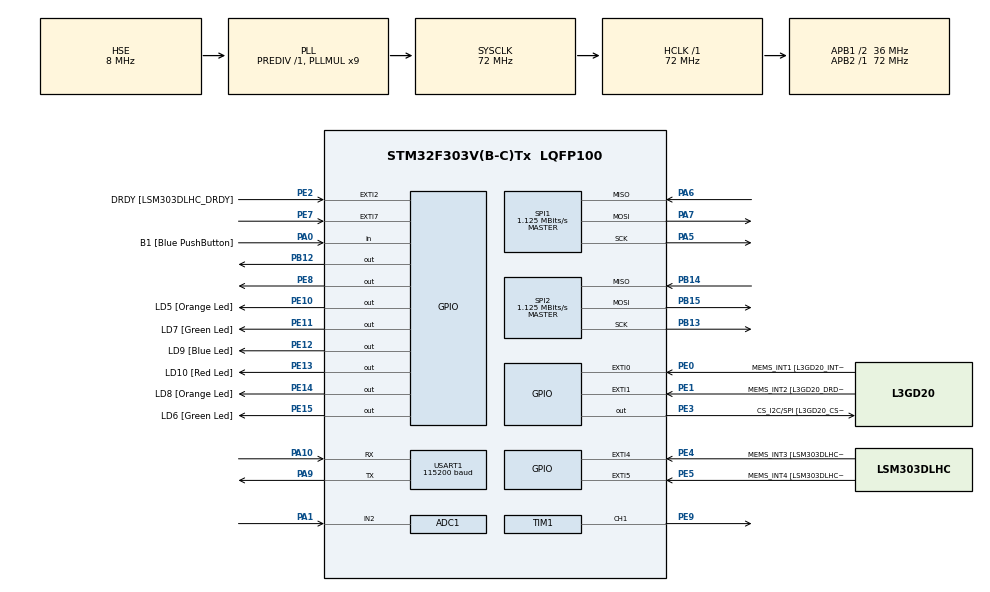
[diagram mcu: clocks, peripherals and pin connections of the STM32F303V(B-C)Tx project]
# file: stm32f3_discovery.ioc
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ADC1.Channel-1\#ChannelRegularConversion=ADC_CHANNEL_2
ADC1.ContinuousConvMode=ENABLE
ADC1.DMAContinuousRequests=ENABLE
ADC1.NbrOfConversionFlag=1
ADC1.Offset-1\#ChannelRegularConversion=0
ADC1.OffsetNumber-1\#ChannelRegularConversion=ADC_OFFSET_NONE
ADC1.Rank-1\#ChannelRegularConversion=1
ADC1.SamplingTime-1\#ChannelRegularConversion=ADC_SAMPLETIME_1CYCLE_5
ADC1.master=1
Dma.ADC1.0.Direction=DMA_PERIPH_TO_MEMORY
Dma.ADC1.0.Instance=DMA1_Channel1
Dma.ADC1.0.MemDataAlignment=DMA_MDATAALIGN_WORD
Dma.ADC1.0.MemInc=DMA_MINC_ENABLE
Dma.ADC1.0.Mode=DMA_CIRCULAR
Dma.ADC1.0.PeriphDataAlignment=DMA_PDATAALIGN_WORD
Dma.ADC1.0.PeriphInc=DMA_PINC_DISABLE
Dma.ADC1.0.Priority=DMA_PRIORITY_LOW
Dma.Request0=ADC1
Mcu.Family=STM32F3
Mcu.Name=STM32F303V(B-C)Tx
Mcu.Package=LQFP100
NVIC.ADC1_2_IRQn=true\:0\:2\:false\:false\:true\:true\:true
NVIC.DMA1_Channel1_IRQn=true\:0\:0\:false\:false\:true\:false\:true
NVIC.EXTI9_5_IRQn=true\:0\:1\:false\:false\:true\:true\:true
NVIC.PriorityGroup=NVIC_PRIORITYGROUP_0
PA0.GPIO_Label=B1 [Blue PushButton]
PA0.Signal=GPIO_Input
PA1.Mode=IN2-Single-Ended
PA1.Signal=ADC1_IN2
PA10.Mode=Asynchronous
PA10.Signal=USART1_RX
PA11.GPIO_Label=DM
PA11.Signal=USB_DM
PA12.GPIO_Label=DP
PA12.Signal=USB_DP
PA13.GPIO_Label=SWDIO
PA13.Mode=Serial_Wire
PA13.Signal=SYS_JTMS-SWDIO
PA14.GPIO_Label=SWCLK
PA14.Mode=Serial_Wire
PA14.Signal=SYS_JTCK-SWCLK
PA5.Mode=Full_Duplex_Master
PA5.Signal=SPI1_SCK
PA6.Mode=Full_Duplex_Master
PA6.Signal=SPI1_MISO
PA7.Mode=Full_Duplex_Master
PA7.Signal=SPI1_MOSI
PA8.Signal=S_TIM4_ETR
PA9.Mode=Asynchronous
PA9.Signal=USART1_TX
PB12.Signal=GPIO_Output
PB13.Mode=Full_Duplex_Master
PB13.Signal=SPI2_SCK
PB14.Mode=Full_Duplex_Master
PB14.Signal=SPI2_MISO
PB15.Mode=Full_Duplex_Master
PB15.Signal=SPI2_MOSI
PB3.Signal=SYS_JTDO-TRACESWO
PB8.GPIO_Label=I2C1_SCL [LSM303DLHC_SCL]
PB8.GPIO_Pu=GPIO_PULLUP
PB8.Signal=I2C1_SCL
PB9.GPIO_Label=I2C1_SDA [LSM303DLHC_SDA]
PB9.GPIO_Pu=GPIO_PULLUP
PB9.Signal=I2C1_SDA
PC14-OSC32_IN.GPIO_Label=OSC32_IN
PC14-OSC32_IN.Signal=RCC_OSC32_IN
PC15-OSC32_OUT.GPIO_Label=OSC32_OUT
PC15-OSC32_OUT.Signal=RCC_OSC32_OUT
PC6.Signal=S_TIM3_CH1
PC7.Signal=S_TIM3_CH2
PC8.Signal=S_TIM3_CH3
PC9.Signal=S_TIM3_CH4
PD12.Signal=S_TIM4_CH1
PE0.GPIO_Label=MEMS_INT1 [L3GD20_INT1]
PE0.GPIO_ModeDefaultEXTI=GPIO_MODE_EVT_RISING
PE0.Signal=GPXTI0
PE1.GPIO_Label=MEMS_INT2 [L3GD20_DRDY/INT2]
PE1.GPIO_ModeDefaultEXTI=GPIO_MODE_EVT_RISING
PE1.Signal=GPXTI1
PE10.GPIO_Label=LD5 [Orange Led]
PE10.Signal=GPIO_Output
PE11.GPIO_Label=LD7 [Green Led]
PE11.Signal=GPIO_Output
PE12.GPIO_Label=LD9 [Blue Led]
PE12.Signal=GPIO_Output
PE13.GPIO_Label=LD10 [Red Led]
PE13.Signal=GPIO_Output
PE14.GPIO_Label=LD8 [Orange Led]
PE14.Signal=GPIO_Output
PE15.GPIO_Label=LD6 [Green Led]
PE15.Signal=GPIO_Output
PE2.GPIO_Label=DRDY [LSM303DLHC_DRDY]
PE2.GPIO_ModeDefaultEXTI=GPIO_MODE_EVT_RISING
PE2.Signal=GPXTI2
PE3.GPIO_Label=CS_I2C/SPI [L3GD20_CS_I2C/SPI]
PE3.Signal=GPIO_Output
PE4.GPIO_Label=MEMS_INT3 [LSM303DLHC_INT1]
PE4.GPIO_ModeDefaultEXTI=GPIO_MODE_EVT_RISING
PE4.Signal=GPXTI4
PE5.GPIO_Label=MEMS_INT4 [LSM303DLHC_INT2]
PE5.GPIO_ModeDefaultEXTI=GPIO_MODE_EVT_RISING
PE5.Signal=GPXTI5
PE7.GPIO_ModeDefaultEXTI=GPIO_MODE_IT_RISING
PE7.GPIO_PuPd=GPIO_PULLDOWN
PE7.Signal=GPXTI7
PE8.Signal=GPIO_Output
PE9.Signal=S_TIM1_CH1
PF0-OSC_IN.GPIO_Label=OSC_IN
PF0-OSC_IN.Mode=HSE-External-Clock-Source
PF0-OSC_IN.Signal=RCC_OSC_IN
PF1-OSC_OUT.GPIO_Label=OSC_OUT
PF1-OSC_OUT.Signal=RCC_OSC_OUT
ProjectManager.HeapSize=0x200
ProjectManager.StackSize=0x400
ProjectManager.TargetToolchain=MDK-ARM V5.32
RCC.AHBFreq_Value=72000000
RCC.APB1CLKDivider=RCC_HCLK_DIV2
RCC.APB1Freq_Value=36000000
RCC.APB1TimFreq_Value=72000000
RCC.APB2Freq_Value=72000000
RCC.APB2TimFreq_Value=72000000
RCC.CortexFreq_Value=72000000
RCC.HCLKFreq_Value=72000000
RCC.HSE_VALUE=8000000
RCC.HSI_VALUE=8000000
RCC.LSE_VALUE=32768
RCC.PLLMUL=RCC_PLL_MUL9
RCC.PLLSourceVirtual=RCC_PLLSOURCE_HSE
RCC.SYSCLKFreq_VALUE=72000000
RCC.SYSCLKSourceVirtual=RCC_SYSCLKSOURCE_PLLCLK
RCC.USBFreq_Value=72000000
SH.S_TIM1_CH1.0=TIM1_CH1,PWM Generation1 CH1
SH.S_TIM3_CH1.0=TIM3_CH1
SH.S_TIM3_CH2.0=TIM3_CH2
SH.S_TIM3_CH3.0=TIM3_CH3
SH.S_TIM3_CH4.0=TIM3_CH4
SH.S_TIM4_CH1.0=TIM4_CH1
SH.S_TIM4_ETR.0=TIM4_ETR
SPI1.BaudRatePrescaler=SPI_BAUDRATEPRESCALER_64
SPI1.CLKPhase=SPI_PHASE_1EDGE
SPI1.CRCCalculation=SPI_CRCCALCULATION_DISABLE
SPI1.CalculateBaudRate=1.125 MBits/s
SPI1.DataSize=SPI_DATASIZE_8BIT
SPI1.Direction=SPI_DIRECTION_2LINES
SPI1.Mode=SPI_MODE_MASTER
SPI1.VirtualType=VM_MASTER
SPI2.BaudRatePrescaler=SPI_BAUDRATEPRESCALER_32
SPI2.CLKPhase=SPI_PHASE_1EDGE
SPI2.CRCCalculation=SPI_CRCCALCULATION_DISABLE
SPI2.CalculateBaudRate=1.125 MBits/s
SPI2.DataSize=SPI_DATASIZE_8BIT
SPI2.Direction=SPI_DIRECTION_2LINES
SPI2.FirstBit=SPI_FIRSTBIT_MSB
SPI2.Mode=SPI_MODE_MASTER
SPI2.NSSPMode=SPI_NSS_PULSE_ENABLE
SPI2.VirtualType=VM_MASTER
TIM1.AutoReloadPreload=TIM_AUTORELOAD_PRELOAD_ENABLE
TIM1.Channel-PWM\ Generation1\ CH1=TIM_CHANNEL_1
TIM1.Period=576
TIM1.Prescaler=0
USART1.BaudRate=115200
USART1.VirtualMode-Asynchronous=VM_ASYNC
VP_TIM1_VS_ClockSourceINT.Mode=Internal
board=STM32F3DISCOVERY

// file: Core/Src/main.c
/* USER CODE BEGIN Header */
/**
  ******************************************************************************
  * @file           : main.c
  * @brief          : Main program body
  ******************************************************************************
  * @attention
  *
  * <h2><center>&copy; Copyright (c) 2021 STMicroelectronics.
  * All rights reserved.</center></h2>
  *
  * This software component is licensed by ST under BSD 3-Clause license,
  * the "License"; You may not use this file except in compliance with the
  * License. You may obtain a copy of the License at:
  *                        opensource.org/licenses/BSD-3-Clause
  *
  ******************************************************************************
  */
/* USER CODE END Header */
#include "main.h"
#include "adc.h"
#include "dma.h"
#include "spi.h"
#include "tim.h"
#include "usart.h"
#include "gpio.h"

/* USER CODE BEGIN Includes */
#include <stdio.h>
#include <string.h>
#include <stdlib.h>
#include "uart_print.h"
#include "math.h"

/* USER CODE END Includes */

/* USER CODE BEGIN PTD */
static DMA_HandleTypeDef hdma_usart1_rx;
/* USER CODE END PTD */

/* USER CODE BEGIN PV */
static const uint8_t mpu6050 = (0x68 << 1);
uint32_t adc_buff[16];
/* USER CODE END PV */

void SystemClock_Config(void);
/* USER CODE BEGIN PFP */
void gyro_init();
/* USER CODE END PFP */

int main(void)
{

  /* MCU Configuration--------------------------------------------------------*/

  /* Reset of all peripherals, Initializes the Flash interface and the Systick. */
  HAL_Init();

  /* Configure the system clock */
  SystemClock_Config();

  /* Initialize all configured peripherals */
  MX_GPIO_Init();
  MX_TIM1_Init();
  MX_USART1_UART_Init();
  MX_DMA_Init();
  MX_ADC1_Init();
  MX_SPI2_Init();
  MX_SPI1_Init();
  /* USER CODE BEGIN 2 */
	//char buff2_str[10];
	//uint8_t status_add;
	//uint8_t status_val;

	uint8_t accel_add = 0x3B | (1<<7);
	uint8_t accelval[6];
	int16_t accelx;
	int16_t accely;
	int16_t accelz;
	float accelx_scale;
	float accely_scale;
	float accelz_scale;
	float gfilterx=0;
	float gfiltery=0;
	float gfilterz=0;
	float Roll;
	float Pitch;
	gyro_init();

  /* USER CODE END 2 */

  /* Infinite loop */
  /* USER CODE BEGIN WHILE */

  while (1)
  {

		HAL_GPIO_WritePin(GPIOB, GPIO_PIN_12, GPIO_PIN_RESET);
		HAL_SPI_Transmit(&hspi2,&accel_add,1,HAL_MAX_DELAY);
		HAL_SPI_Receive(&hspi2,accelval,6,HAL_MAX_DELAY);
		HAL_GPIO_WritePin(GPIOB, GPIO_PIN_12, GPIO_PIN_SET);
		accelx = (int16_t)((accelval[0]<<8) | accelval[1]);
		accely = (int16_t)((accelval[2]<<8) | accelval[3]);
		accelz = (int16_t)((accelval[4]<<8) | accelval[5]);
		accelx_scale = (2.0 * 9.81 / 32768.0)*((float)accelx);
		accely_scale = (2.0 * 9.81 / 32768.0)*((float)accely);
		accelz_scale = (2.0 * 9.81 / 32768.0)*((float)accelz);/*
		gfilterx = 0.9 * gfilterx + 0.1 * accelx_scale;
		gfiltery = 0.9 * gfiltery + 0.1 * accely_scale;
		gfilterz = 0.9 * gfilterz + 0.1 * accelz_scale;
		//Roll = atan2(gfiltery, gfilterz) * 180/(3.1415);
		//Pitch = atan2(-gfilterx, sqrt(gfiltery*gfiltery + gfilterz*gfilterz)) * 180/(3.1415);
		Roll = atan2(-gfiltery, gfilterz) * 180/(3.1415);
		Pitch = atan2(gfilterx, sqrt(gfiltery*gfiltery + gfilterz*gfilterz)) * 180/(3.1415);
		print_float(&huart1,&Roll);
		print_str(&huart1,",");
		print_float(&huart1,&Pitch);
		lineend(&huart1,WINDOWS);*/
		/*
		print_int(&huart1,&accelx,sizeof(accelx));
		print_str(&huart1,",");
		print_int(&huart1,&accely,sizeof(accely));
		print_str(&huart1,",");
		print_int(&huart1,&accelz,sizeof(accelz));
		lineend(&huart1,WINDOWS);*/
		/*
		print_float(&huart1,&gfilterx);
		print_str(&huart1,",");
		print_float(&huart1,&gfiltery);
		print_str(&huart1,",");
		print_float(&huart1,&gfilterz);
		lineend(&huart1,WINDOWS);
		*/

		print_float(&huart1,&accelx_scale);
		print_str(&huart1,",");
		print_float(&huart1,&accely_scale);
		print_str(&huart1,",");
		print_float(&huart1,&accelz_scale);
		lineend(&huart1,WINDOWS);
		/*if(Roll > 80 && (Pitch < 15 && Pitch > -15)){
			print_str(&huart1,"Left Side!");
			lineend(&huart1,WINDOWS);
		}
		else if(Roll > 158 && Pitch < -45){
			print_str(&huart1,"right Side!");
			lineend(&huart1,WINDOWS);
		}
		else if(Roll > 90 && Roll < 120 && Pitch < -42){
			print_str(&huart1,"Back Side!");
			lineend(&huart1,WINDOWS);
		}
		else if(Roll > 80 && Pitch > 28){
			print_str(&huart1,"Front Side!");
			lineend(&huart1,WINDOWS);
		}
		//else{
		//	print_str(&huart1,"Front Side!");
		//	lineend(&huart1,WINDOWS);
		//}
		*/
		HAL_Delay(100);
		//HAL_Delay(50);

    /* USER CODE END WHILE */

  }
}

void SystemClock_Config(void)
{
  RCC_OscInitTypeDef RCC_OscInitStruct = {0};
  RCC_ClkInitTypeDef RCC_ClkInitStruct = {0};
  RCC_PeriphCLKInitTypeDef PeriphClkInit = {0};

  /** Initializes the RCC Oscillators according to the specified parameters
  * in the RCC_OscInitTypeDef structure.
  */
  RCC_OscInitStruct.OscillatorType = RCC_OSCILLATORTYPE_HSE;
  RCC_OscInitStruct.HSEState = RCC_HSE_BYPASS;
  RCC_OscInitStruct.HSEPredivValue = RCC_HSE_PREDIV_DIV1;
  RCC_OscInitStruct.HSIState = RCC_HSI_ON;
  RCC_OscInitStruct.PLL.PLLState = RCC_PLL_ON;
  RCC_OscInitStruct.PLL.PLLSource = RCC_PLLSOURCE_HSE;
  RCC_OscInitStruct.PLL.PLLMUL = RCC_PLL_MUL9;
  if (HAL_RCC_OscConfig(&RCC_OscInitStruct) != HAL_OK)
  {
    Error_Handler();
  }
  /** Initializes the CPU, AHB and APB buses clocks
  */
  RCC_ClkInitStruct.ClockType = RCC_CLOCKTYPE_HCLK|RCC_CLOCKTYPE_SYSCLK
                              |RCC_CLOCKTYPE_PCLK1|RCC_CLOCKTYPE_PCLK2;
  RCC_ClkInitStruct.SYSCLKSource = RCC_SYSCLKSOURCE_PLLCLK;
  RCC_ClkInitStruct.AHBCLKDivider = RCC_SYSCLK_DIV1;
  RCC_ClkInitStruct.APB1CLKDivider = RCC_HCLK_DIV2;
  RCC_ClkInitStruct.APB2CLKDivider = RCC_HCLK_DIV1;

  if (HAL_RCC_ClockConfig(&RCC_ClkInitStruct, FLASH_LATENCY_2) != HAL_OK)
  {
    Error_Handler();
  }
  PeriphClkInit.PeriphClockSelection = RCC_PERIPHCLK_USART1|RCC_PERIPHCLK_TIM1
                              |RCC_PERIPHCLK_ADC12;
  PeriphClkInit.Usart1ClockSelection = RCC_USART1CLKSOURCE_PCLK2;
  PeriphClkInit.Adc12ClockSelection = RCC_ADC12PLLCLK_DIV1;
  PeriphClkInit.Tim1ClockSelection = RCC_TIM1CLK_HCLK;
  if (HAL_RCCEx_PeriphCLKConfig(&PeriphClkInit) != HAL_OK)
  {
    Error_Handler();
  }
}

/* USER CODE BEGIN 4 */
void gyro_init(){
	uint8_t buffer[4] = {0x19,0x00,0x06,0x10};
  // 1st pointer to register at address 0x19
  // 2nd addr=0x19 <SMPLRT_DIV registr> || "SAMPLE_RATE= Internal_Sample_Rate / (1 + SMPLRT_DIV)"
  // 3rd 00000110 addr=0x1A <CONFIG registr> || "DLPF <Fs=1KHz, mode=6>, fifo mode replace"
  // 4th 1000dps addr=0x1B <GYRO CONFIG registr> || "gyro full scale +-250dps, enable DLPF by fchoice_b = 2b'00"
	uint8_t int_conf[3] = {0x37,0x10,0x40};
	//uint8_t int_conf[3] = {0x37,0x10,0x01};
	uint8_t wom_th[2] = {0x1F, 0x22};

	HAL_GPIO_WritePin(GPIOB, GPIO_PIN_12, GPIO_PIN_RESET);
	HAL_SPI_Transmit(&hspi2,buffer,4,HAL_MAX_DELAY);
	HAL_GPIO_WritePin(GPIOB, GPIO_PIN_12, GPIO_PIN_SET);
	HAL_Delay(100);
	//HAL_GPIO_WritePin(GPIOB, GPIO_PIN_12, GPIO_PIN_RESET);

	HAL_SPI_Transmit(&hspi2,int_conf,3,HAL_MAX_DELAY);
	HAL_GPIO_WritePin(GPIOB, GPIO_PIN_12, GPIO_PIN_SET);
	HAL_Delay(100);
	HAL_GPIO_WritePin(GPIOB, GPIO_PIN_12, GPIO_PIN_RESET);
	HAL_SPI_Transmit(&hspi2,wom_th,2,HAL_MAX_DELAY);
	HAL_GPIO_WritePin(GPIOB, GPIO_PIN_12, GPIO_PIN_SET);
	//uint8_t pow_mgnt[3] = {0x6B,0x00,0x07};
	uint8_t accel_config_2[3] = {0x1D,0x05,0x09};
	//uint8_t MOT_DETECT_CTRL[2] = {0x69,0xC0};
	//uint8_t LP_ACCEL_ODR_CTRL[2] = {0x1E,0x0B};
	//uint8_t pow_mgnt1[3] = {0x6B,0x20};
	//HAL_GPIO_WritePin(GPIOB, GPIO_PIN_12, GPIO_PIN_RESET);
	//HAL_SPI_Transmit(&hspi2,pow_mgnt,2,HAL_MAX_DELAY);
	//HAL_GPIO_WritePin(GPIOB, GPIO_PIN_12, GPIO_PIN_SET);
	//HAL_Delay(100);
	//HAL_GPIO_WritePin(GPIOB, GPIO_PIN_12, GPIO_PIN_RESET);
	//HAL_SPI_Transmit(&hspi2,accel_config_2,2,HAL_MAX_DELAY);
	//HAL_GPIO_WritePin(GPIOB, GPIO_PIN_12, GPIO_PIN_SET);
	//HAL_Delay(100);
	//HAL_GPIO_WritePin(GPIOB, GPIO_PIN_12, GPIO_PIN_RESET);
	//HAL_SPI_Transmit(&hspi2,MOT_DETECT_CTRL,2,HAL_MAX_DELAY);
	//HAL_GPIO_WritePin(GPIOB, GPIO_PIN_12, GPIO_PIN_SET);
	//HAL_Delay(100);
	//HAL_GPIO_WritePin(GPIOB, GPIO_PIN_12, GPIO_PIN_RESET);
	//HAL_SPI_Transmit(&hspi2,LP_ACCEL_ODR_CTRL,2,HAL_MAX_DELAY);
	//HAL_GPIO_WritePin(GPIOB, GPIO_PIN_12, GPIO_PIN_SET);
	//HAL_Delay(100);
	//HAL_GPIO_WritePin(GPIOB, GPIO_PIN_12, GPIO_PIN_RESET);
	//HAL_SPI_Transmit(&hspi2,pow_mgnt1,2,HAL_MAX_DELAY);
	//HAL_GPIO_WritePin(GPIOB, GPIO_PIN_12, GPIO_PIN_SET);
	//HAL_Delay(100);

/*	if(HAL_I2C_Master_Transmit(&hi2c1,mpu6050,buffer,4,HAL_MAX_DELAY) != HAL_OK){
		HAL_UART_Transmit(&huart1,(uint8_t *)"i2c_error: gyro_init() (1)",strlen("i2c_error: gyro_init() (1)"),HAL_MAX_DELAY);
	}
	if(HAL_I2C_Master_Transmit(&hi2c1,mpu6050,buff2,3,HAL_MAX_DELAY) != HAL_OK){
		HAL_UART_Transmit(&huart1,(uint8_t *)"i2c_error: gyro_init() (2)",strlen("i2c_error: gyro_init() (1)"),HAL_MAX_DELAY);
	}
	*/
}

void personal(void){
	static uint8_t lineend[2] = {0x0D,0x0A};
	static char raw_str[30];
	for(int i=0;i<16;i++){
		sprintf(raw_str,"%d",(adc_buff[i]));
		HAL_UART_Transmit(&huart1,(uint8_t *)raw_str,strlen(raw_str),HAL_MAX_DELAY);
		HAL_UART_Transmit(&huart1,lineend,2,HAL_MAX_DELAY);
	}
}

/* USER CODE END 4 */

void Error_Handler(void)
{
  __disable_irq();
  while (1)
  {
  }
}

/************************ (C) COPYRIGHT STMicroelectronics *****END OF FILE****/
